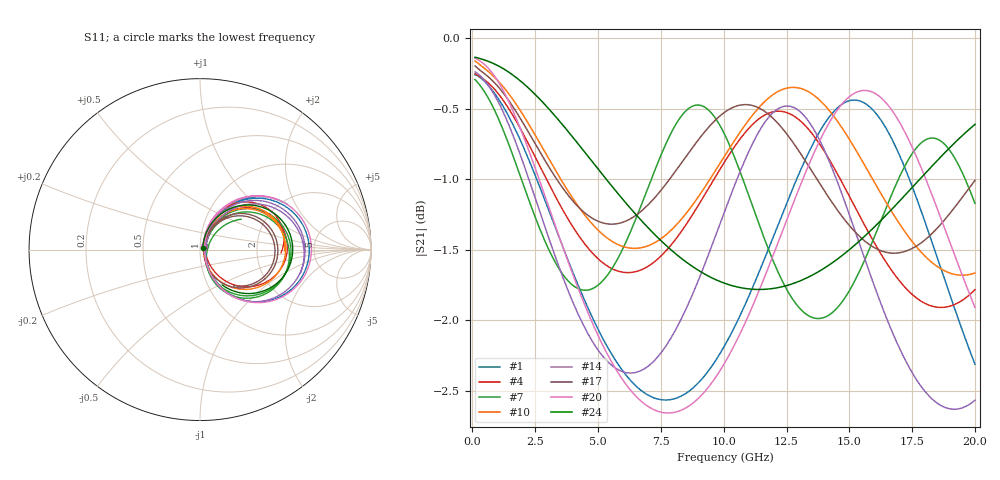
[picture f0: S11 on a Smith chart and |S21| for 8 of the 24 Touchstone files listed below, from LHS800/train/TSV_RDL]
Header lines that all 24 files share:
! Touchstone file exported from HFSS 2026.1.0
!  Design:  TSV_RDL
! Variables:
! Terminal data exported
# GHz S MA R 50.000000
Fixed: h_ox = 20um, h_rdl = 5um, h_via = 3um, m_sub = 200um, s_tmrdl = 10um, w_sub = 500um
Also varied, not listed: x_tsv_center2, x_tsv_center3, x_tsv_center4, x_tsv_center5, x_tsv_center6
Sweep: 100 MHz to 20 GHz
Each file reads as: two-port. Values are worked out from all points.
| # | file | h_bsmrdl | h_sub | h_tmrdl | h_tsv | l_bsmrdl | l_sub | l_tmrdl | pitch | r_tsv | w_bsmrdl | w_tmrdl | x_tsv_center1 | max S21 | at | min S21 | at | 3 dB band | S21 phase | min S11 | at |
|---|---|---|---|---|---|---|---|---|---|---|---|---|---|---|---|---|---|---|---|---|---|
| 1 | dut700.s2p | 2.92um | 88.35um | 2.76um | 88.35um | 884.47um | 3600.67um | 117.09um | 57.96um | 14.08um | 13.14um | 13.16um | 123.67um | -0.26 dB | 100 MHz | -2.6 dB | 7.7 GHz | 100 MHz-20 GHz | -111 deg at 10.1 GHz | -29.7 dB | 15.3 GHz |
| 2 | dut701.s2p | 2.18um | 83.66um | 3.31um | 83.66um | 529.96um | 4119.21um | 501.59um | 39.7um | 6.81um | 11.1um | 29.89um | 516.535um | -0.28 dB | 100 MHz | -1.6 dB | 20 GHz | 100 MHz-20 GHz | -127 deg at 10.1 GHz | -30.2 dB | 14.8 GHz |
| 3 | dut702.s2p | 3.61um | 59.72um | 4.36um | 59.72um | 914.6um | 6723.25um | 865.35um | 47.81um | 6.78um | 14.13um | 25.22um | 877.96um | -0.28 dB | 100 MHz | -2.3 dB | 14.7 GHz | 100 MHz-20 GHz | 166 deg at 10.1 GHz | -29.3 dB | 9.7 GHz |
| 4 | dut703.s2p | 5.79um | 77.59um | 3.63um | 77.59um | 629.98um | 4567.45um | 544.86um | 37.1um | 3.88um | 21.69um | 11um | 550.36um | -0.25 dB | 100 MHz | -1.9 dB | 18.6 GHz | 100 MHz-20 GHz | -135 deg at 10.1 GHz | -30.7 dB | 12.4 GHz |
| 5 | dut704.s2p | 2.39um | 82.53um | 3.41um | 82.53um | 698.06um | 4019.1um | 353.42um | 59.37um | 12.72um | 23.5um | 13.58um | 360.21um | -0.22 dB | 100 MHz | -2.3 dB | 20 GHz | 100 MHz-20 GHz | -119 deg at 10.1 GHz | -32.1 dB | 14 GHz |
| 6 | dut705.s2p | 2.1um | 67.59um | 3.91um | 67.59um | 229.88um | 2416.63um | 300.48um | 49.76um | 7.99um | 16.07um | 25.62um | 313.29um | -0.12 dB | 100 MHz | -1.6 dB | 12.6 GHz | 100 MHz-20 GHz | -74 deg at 10.1 GHz | -36.0 dB | 100 MHz |
| 7 | dut706.s2p | 2.26um | 65.72um | 4.41um | 65.72um | 890.5um | 7027.92um | 953.57um | 51.47um | 10.14um | 19.28um | 28.1um | 967.62um | -0.29 dB | 100 MHz | -2.0 dB | 13.8 GHz | 100 MHz-20 GHz | 154 deg at 10.1 GHz | -30.7 dB | 9.1 GHz |
| 8 | dut708.s2p | 5.48um | 55.71um | 5um | 55.71um | 339.19um | 2649.75um | 276.08um | 45.02um | 3.86um | 24.1um | 18.52um | 285.34um | -0.10 dB | 100 MHz | -1.5 dB | 11.7 GHz | 100 MHz-20 GHz | -77 deg at 10.1 GHz | -37.0 dB | 100 MHz |
| 9 | dut709.s2p | 4.23um | 87.81um | 5.22um | 87.81um | 319.24um | 2131.34um | 168.1um | 53.33um | 4.15um | 18.92um | 14.82um | 175.51um | -0.10 dB | 100 MHz | -2.3 dB | 13.1 GHz | 100 MHz-20 GHz | -72 deg at 10.1 GHz | -36.1 dB | 100 MHz |
| 10 | dut710.s2p | 4.72um | 56.37um | 2.67um | 56.37um | 383.03um | 4819.06um | 776.58um | 56.41um | 14.25um | 25.4um | 29.15um | 791.155um | -0.16 dB | 100 MHz | -1.7 dB | 19.5 GHz | 100 MHz-20 GHz | -133 deg at 10.1 GHz | -33.9 dB | 12.9 GHz |
| 11 | dut711.s2p | 5.03um | 55.12um | 3.25um | 55.12um | 331.08um | 3922.8um | 610.4um | 37.25um | 14um | 13.43um | 15.89um | 618.345um | -0.20 dB | 100 MHz | -1.5 dB | 20 GHz | 100 MHz-20 GHz | -118 deg at 10.1 GHz | -33.1 dB | 14.2 GHz |
| 12 | dut712.s2p | 5.57um | 53.54um | 2.51um | 53.54um | 617.12um | 3019.09um | 154.62um | 54.89um | 5.78um | 23.42um | 26.33um | 167.785um | -0.10 dB | 100 MHz | -1.8 dB | 10.7 GHz | 100 MHz-20 GHz | -84 deg at 10.1 GHz | -36.2 dB | 100 MHz |
| 13 | dut713.s2p | 5.84um | 86.86um | 3.49um | 86.86um | 465.29um | 2860.89um | 243.5um | 36.97um | 8.07um | 16.64um | 13.7um | 250.35um | -0.12 dB | 100 MHz | -1.2 dB | 9.5 GHz | 100 MHz-20 GHz | -91 deg at 10.1 GHz | -35.5 dB | 100 MHz |
| 14 | dut716.s2p | 4.86um | 52.79um | 3.19um | 52.79um | 795.99um | 5091.26um | 550.87um | 47.93um | 10.59um | 11.31um | 21.96um | 561.85um | -0.24 dB | 100 MHz | -2.6 dB | 19.2 GHz | 100 MHz-20 GHz | -138 deg at 10.1 GHz | -29.4 dB | 12.7 GHz |
| 15 | dut720.s2p | 4.8um | 90.42um | 5.53um | 90.42um | 708.93um | 3248.86um | 155.61um | 48.64um | 14.34um | 10.66um | 22.55um | 166.885um | -0.15 dB | 100 MHz | -1.7 dB | 8.4 GHz | 100 MHz-20 GHz | -106 deg at 10.1 GHz | -33.3 dB | 100 MHz |
| 16 | dut721.s2p | 4.26um | 87.74um | 2.45um | 87.74um | 539.04um | 3087.66um | 238.1um | 50.4um | 13.31um | 17.86um | 21.52um | 248.86um | -0.13 dB | 100 MHz | -1.4 dB | 8.8 GHz | 100 MHz-20 GHz | -98 deg at 10.1 GHz | -34.5 dB | 100 MHz |
| 17 | dut726.s2p | 3.37um | 74.94um | 4.87um | 74.94um | 848.21um | 5574.78um | 618.59um | 45.33um | 3.71um | 25.98um | 25.95um | 631.565um | -0.20 dB | 100 MHz | -1.5 dB | 16.8 GHz | 100 MHz-20 GHz | -162 deg at 10.1 GHz | -32.3 dB | 11.1 GHz |
| 18 | dut728.s2p | 5.65um | 86.62um | 3.66um | 86.62um | 624.96um | 6201.04um | 959.76um | 46.12um | 13.68um | 10.31um | 18.73um | 969.125um | -0.28 dB | 100 MHz | -2.1 dB | 14 GHz | 100 MHz-20 GHz | 164 deg at 10.1 GHz | -29.7 dB | 9.3 GHz |
| 19 | dut729.s2p | 5.14um | 76.16um | 5.17um | 76.16um | 165.23um | 2112.81um | 274.04um | 33.53um | 2.57um | 21.49um | 18.83um | 283.455um | -0.13 dB | 100 MHz | -1.1 dB | 13.5 GHz | 100 MHz-20 GHz | -69 deg at 10.1 GHz | -35.8 dB | 100 MHz |
| 20 | dut731.s2p | 3.6um | 57.01um | 5.33um | 57.01um | 141.67um | 4118.12um | 797.26um | 58.86um | 5.84um | 16.49um | 18.2um | 806.36um | -0.14 dB | 100 MHz | -2.7 dB | 7.8 GHz | 100 MHz-20 GHz | -109 deg at 10.1 GHz | -32.2 dB | 100 MHz |
| 21 | dut734.s2p | 4.81um | 93.51um | 3.17um | 93.51um | 760.82um | 5873.93um | 780.13um | 42.33um | 9.57um | 12.88um | 10.77um | 785.515um | -0.40 dB | 100 MHz | -2.6 dB | 14.4 GHz | 100 MHz-20 GHz | 173 deg at 10.1 GHz | -28.1 dB | 9.6 GHz |
| 22 | dut735.s2p | 5.73um | 95.54um | 2.88um | 95.54um | 598.21um | 3412.08um | 282.53um | 52.66um | 2.15um | 18.8um | 10.31um | 287.685um | -0.30 dB | 100 MHz | -2.8 dB | 8.1 GHz | 100 MHz-20 GHz | -103 deg at 10.1 GHz | -29.2 dB | 16.4 GHz |
| 23 | dut736.s2p | 4.15um | 91.03um | 4.32um | 91.03um | 475.29um | 5636.6um | 917.11um | 43.91um | 2.69um | 29.19um | 18.24um | 926.23um | -0.27 dB | 100 MHz | -1.9 dB | 15.3 GHz | 100 MHz-20 GHz | -173 deg at 10.1 GHz | -31.1 dB | 10.2 GHz |
| 24 | dut738.s2p | 4.05um | 65.47um | 4.66um | 65.47um | 436.89um | 2610.66um | 205.58um | 37.94um | 7.59um | 12.12um | 13.77um | 212.465um | -0.14 dB | 100 MHz | -1.8 dB | 11.4 GHz | 100 MHz-20 GHz | -80 deg at 10.1 GHz | -34.7 dB | 100 MHz |
